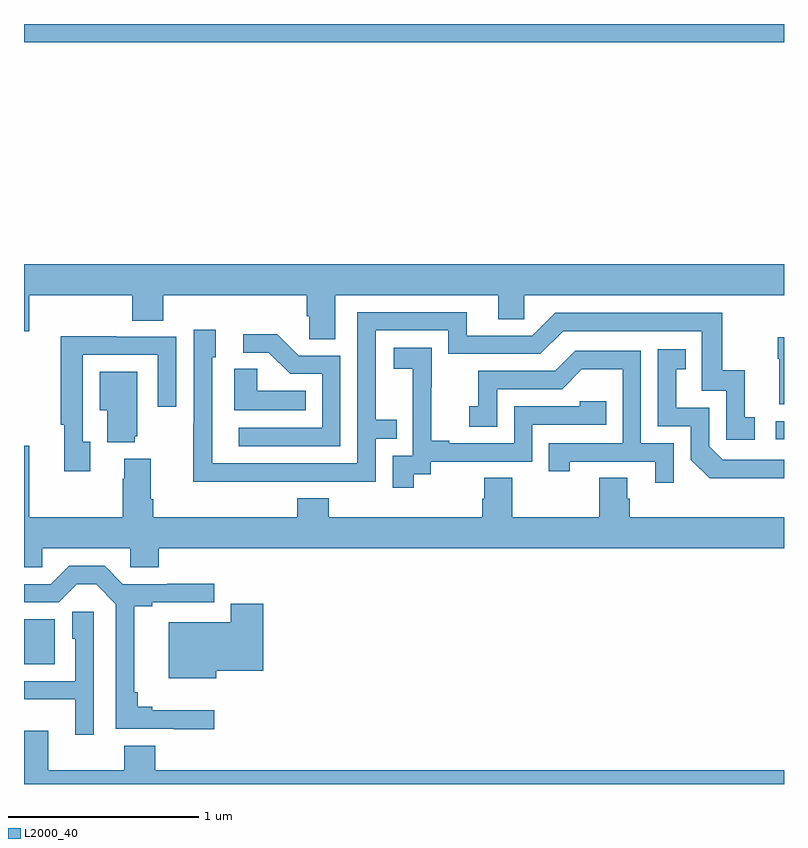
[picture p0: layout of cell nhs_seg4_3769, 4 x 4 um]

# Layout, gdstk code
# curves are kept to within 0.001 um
import gdstk
lib = gdstk.Library(unit=1e-6, precision=1e-09)
def R(c, l, rs):  # rectangles x0, y0, x1, y1
    for r in rs: c.add(gdstk.rectangle(r[:2], r[2:], *l))
def P(c, l, *ps):  # polygons
    for p in ps: c.add(gdstk.Polygon(p, *l))
L2000_40 = (2000, 40)

nhs_seg4_3769 = lib.new_cell('nhs_seg4_3769')
R(nhs_seg4_3769, L2000_40, [(309,809.531,309.163,809.767), (312.957,810.714,313,810.81), (309,812.804,313,812.9)])
P(nhs_seg4_3769, L2000_40, [(310.639,811.472),(311.495,811.472),(311.495,811.345),(311.634,811.345),(311.634,811.472),(313,811.472),(313,811.636),(309,811.636),(309,811.284),(309.028,811.284),(309.028,811.472),(309.569,811.472),(309.569,811.339),(309.734,811.339),(309.734,811.472),(310.487,811.472),(310.487,811.363),(310.5,811.363),(310.5,811.24),(310.639,811.24)],
  [(310.355,810.492),(310.851,810.492),(310.851,810.717),(310.961,810.717),(310.961,810.818),(310.851,810.818),(310.851,811.287),(311.232,811.287),(311.232,811.164),(311.718,811.164),(311.838,811.284),(312.567,811.284),(312.567,810.969),(312.696,810.969),(312.696,810.711),(312.847,810.711),(312.847,810.831),(312.794,810.831),(312.794,811.078),(312.676,811.078),(312.676,811.38),(311.796,811.38),(311.676,811.26),(311.329,811.26),(311.329,811.383),(310.755,811.383),(310.755,810.588),(309.99,810.588),(309.99,811.146),(310.009,811.146),(310.009,811.291),(309.894,811.291),(309.894,810.797),(309.892,810.797),(309.892,810.491)],
  [(310.665,811.155),(310.446,811.155),(310.333,811.268),(310.155,811.268),(310.155,811.17),(310.289,811.17),(310.4,811.059),(310.569,811.059),(310.569,810.774),(310.131,810.774),(310.131,810.678),(310.665,810.678)],
  [(309.349,810.702),(309.309,810.702),(309.309,811.158),(309.705,811.158),(309.705,810.885),(309.801,810.885),(309.801,811.254),(309.485,811.254),(309.485,811.256),(309.193,811.256),(309.193,810.79),(309.212,810.79),(309.212,810.546),(309.349,810.546)],
  [(313,811.252),(312.967,811.252),(312.967,811.139),(312.974,811.139),(312.974,810.899),(313,810.899)],
  [(311.05,810.529),(311.142,810.529),(311.142,810.597),(311.676,810.597),(311.676,810.792),(312.065,810.792),(312.065,810.915),(311.925,810.915),(311.925,810.888),(311.58,810.888),(311.58,810.693),(311.239,810.693),(311.239,810.706),(311.144,810.706),(311.144,810.989),(311.145,810.989),(311.145,811.195),(310.947,811.195),(310.947,811.085),(311.045,811.085),(311.045,810.857),(311.046,810.857),(311.046,810.627),(310.941,810.627),(310.941,810.459),(311.05,810.459)],
  [(313,810.606),(312.678,810.606),(312.606,810.678),(312.606,810.879),(312.433,810.879),(312.433,811.083),(312.482,811.083),(312.482,811.189),(312.336,811.189),(312.336,810.783),(312.51,810.783),(312.51,810.606),(312.608,810.509),(313,810.509)],
  [(312.42,810.693),(312.246,810.693),(312.246,811.179),(311.9,811.179),(311.795,811.074),(311.392,811.074),(311.392,810.889),(311.343,810.889),(311.343,810.78),(311.49,810.78),(311.49,810.978),(311.832,810.978),(311.936,811.082),(312.15,811.082),(312.15,810.693),(311.761,810.693),(311.761,810.546),(311.872,810.546),(311.872,810.597),(312.323,810.597),(312.323,810.486),(312.42,810.486)],
  [(310.484,810.97),(310.227,810.97),(310.227,811.085),(310.106,811.085),(310.106,810.866),(310.484,810.866)],
  [(309.584,810.729),(309.595,810.729),(309.595,811.069),(309.398,811.069),(309.398,810.866),(309.437,810.866),(309.437,810.698),(309.584,810.698)],
  [(309.096,810.14),(309.558,810.14),(309.558,810.042),(309.71,810.042),(309.71,810.14),(313,810.14),(313,810.304),(312.188,810.304),(312.188,810.402),(312.175,810.402),(312.175,810.512),(312.028,810.512),(312.028,810.304),(311.571,810.304),(311.571,810.512),(311.423,810.512),(311.423,810.402),(311.411,810.402),(311.411,810.304),(310.604,810.304),(310.604,810.403),(310.439,810.403),(310.439,810.304),(309.68,810.304),(309.68,810.4),(309.667,810.4),(309.667,810.613),(309.527,810.613),(309.527,810.506),(309.52,810.506),(309.52,810.304),(309.028,810.304),(309.028,810.679),(309,810.679),(309,810.042),(309.096,810.042)],
  [(310,809.287),(309.676,809.287),(309.676,809.306),(309.599,809.306),(309.599,809.383),(309.581,809.383),(309.581,809.836),(309.676,809.836),(309.676,809.856),(310,809.856),(310,809.954),(309.753,809.954),(309.753,809.952),(309.52,809.952),(309.424,810.048),(309.237,810.048),(309.141,809.952),(309,809.952),(309,809.856),(309.183,809.856),(309.278,809.951),(309.379,809.951),(309.483,809.847),(309.483,809.19),(310,809.189)],
  [(310.012,809.495),(310.259,809.495),(310.259,809.848),(310.088,809.848),(310.088,809.752),(309.761,809.752),(309.761,809.456),(310.012,809.456)],
  [(309.366,809.807),(309.254,809.807),(309.254,809.664),(309.27,809.664),(309.27,809.442),(309,809.442),(309,809.345),(309.269,809.345),(309.269,809.16),(309.366,809.16)],
  [(313,808.972),(309.691,808.972),(309.691,809.101),(309.527,809.101),(309.527,808.972),(309.127,808.972),(309.127,809.179),(309,809.179),(309,808.9),(313,808.9)])

lib.write_gds('nhs_seg4_3769.gds')
